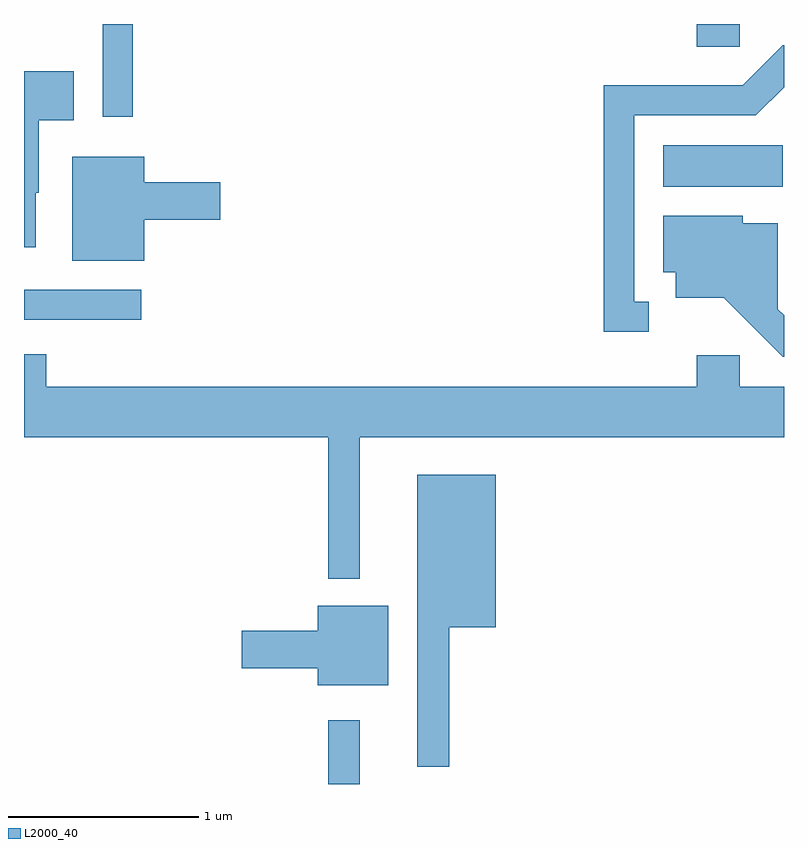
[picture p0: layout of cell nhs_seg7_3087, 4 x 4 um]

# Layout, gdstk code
import gdstk
lib = gdstk.Library(unit=1e-6, precision=1e-09)
def R(c, l, rs):  # rectangles x0, y0, x1, y1
    for r in rs: c.add(gdstk.rectangle(r[:2], r[2:], *l))
def P(c, l, *ps):  # polygons
    for p in ps: c.add(gdstk.Polygon(p, *l))
L2000_40 = (2000, 40)

nhs_seg7_3087 = lib.new_cell('nhs_seg7_3087')
R(nhs_seg7_3087, L2000_40, [(281.211,1730.252,281.379,1730.588), (279.611,1732.696,280.228,1732.854), (282.976,1733.396,283.604,1733.614), (280.026,1733.763,280.184,1734.252), (283.151,1734.131,283.379,1734.252)])
P(nhs_seg7_3087, L2000_40, [(282.898,1732.789),(282.824,1732.789),(282.824,1733.771),(283.462,1733.771),(283.611,1733.92),(283.611,1734.139),(283.604,1734.139),(283.477,1734.013),(283.394,1733.929),(282.661,1733.929),(282.661,1732.631),(282.898,1732.631)],
  [(279.674,1733.365),(279.689,1733.365),(279.689,1733.746),(279.874,1733.746),(279.874,1734.004),(279.611,1734.004),(279.611,1733.076),(279.674,1733.076)],
  [(280.244,1733.221),(280.644,1733.221),(280.644,1733.419),(280.244,1733.419),(280.244,1733.554),(279.866,1733.554),(279.866,1733.006),(280.244,1733.006)],
  [(283.611,1732.72),(283.579,1732.752),(283.579,1733.204),(283.394,1733.204),(283.394,1733.244),(282.976,1733.244),(282.976,1732.946),(283.041,1732.946),(283.041,1732.811),(283.294,1732.811),(283.604,1732.501),(283.611,1732.501)],
  [(281.379,1732.076),(283.611,1732.076),(283.611,1732.344),(283.379,1732.344),(283.379,1732.509),(283.151,1732.509),(283.151,1732.344),(279.729,1732.344),(279.729,1732.514),(279.611,1732.514),(279.611,1732.076),(281.211,1732.076),(281.211,1731.333),(281.379,1731.333)],
  [(281.849,1731.076),(282.094,1731.076),(282.094,1731.879),(281.681,1731.879),(281.681,1730.343),(281.849,1730.343)],
  [(281.529,1731.189),(281.156,1731.189),(281.156,1731.059),(280.756,1731.059),(280.756,1730.861),(281.156,1730.861),(281.156,1730.771),(281.529,1730.771)])

lib.write_gds('nhs_seg7_3087.gds')
